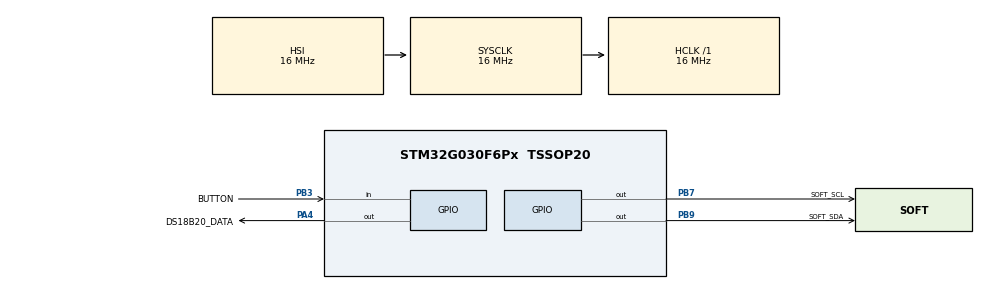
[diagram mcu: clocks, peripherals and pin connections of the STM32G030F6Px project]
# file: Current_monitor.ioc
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Mcu.Family=STM32G0
Mcu.Name=STM32G030F6Px
Mcu.Package=TSSOP20
NVIC.TIM17_IRQn=true\:0\:0\:false\:false\:true\:true\:true\:true
PA13.Mode=Serial_Wire
PA13.Signal=SYS_SWDIO
PA14-BOOT0.Mode=Serial_Wire
PA14-BOOT0.Signal=SYS_SWCLK
PA14-BOOT0__PA15.StandardMode=true
PA4.GPIO_Label=DS18B20_DATA
PA4.Signal=GPIO_Output
PB0__PB1__PB2__PA8.StandardMode=true
PB3.GPIO_Label=BUTTON
PB3.Signal=GPIO_Input
PB3__PB4__PB5__PB6.StandardMode=true
PB7.GPIO_Label=SOFT_SCL
PB7.Signal=GPIO_Output
PB7__PB8.StandardMode=true
PB9.GPIO_Label=SOFT_SDA
PB9.Signal=GPIO_Output
PC14-OSC32_IN\ (PC14)__PB9.StandardMode=true
ProjectManager.HeapSize=0x200
ProjectManager.StackSize=0x400
ProjectManager.TargetToolchain=MDK-ARM V5.27
RCC.ADCFreq_Value=16000000
RCC.AHBFreq_Value=16000000
RCC.CortexFreq_Value=16000000
RCC.EXTERNAL_CLOCK_VALUE=12288000
RCC.HCLKFreq_Value=16000000
RCC.HSE_VALUE=8000000
RCC.HSI_VALUE=16000000
RCC.LSE_VALUE=32768
RCC.SYSCLKFreq_VALUE=16000000
RCC.VCOOutputFreq_Value=128000000
TIM17.Period=50000-1
TIM17.Prescaler=32-1
VP_TIM17_VS_ClockSourceINT.Mode=Enable_Timer
board=custom

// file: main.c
/* USER CODE BEGIN Header */
/**
  ******************************************************************************
  * @file           : main.c
  * @brief          : Main program body
  ******************************************************************************
  * @attention
  *
  * Copyright (c) 2023 STMicroelectronics.
  * All rights reserved.
  *
  * This software is licensed under terms that can be found in the LICENSE file
  * in the root directory of this software component.
  * If no LICENSE file comes with this software, it is provided AS-IS.
  *
  ******************************************************************************
  */
/* USER CODE END Header */
#include "main.h"
#include "tim.h"
#include "gpio.h"

/* USER CODE BEGIN Includes */
#include "ADS1115.h"
#include "stdbool.h"
/* USER CODE END Includes */

/* USER CODE BEGIN PV */

int16_t data[4];

float out_millivolts;
float out_volts;

float Ushunt;
float current;

float battery_millivolts;
float battery_volts;

bool flag_tim = false;
uint16_t sec = 0;
uint8_t min = 0;
uint8_t hour = 0;

extern uint8_t adc_tick;

extern uint16_t DataRaw[4];

uint16_t cnt;

/* USER CODE END PV */

void SystemClock_Config(void);

/* USER CODE BEGIN 0 */

//void HAL_TIM_PeriodElapsedCallback(TIM_HandleTypeDef *htim)
//{
//	if(htim->Instance == TIM17)
//	{
//		//ADS1115_Refresh_All_Channel();
//	}
//}

/* USER CODE END 0 */

int main(void)
{

  /* MCU Configuration--------------------------------------------------------*/

  /* Reset of all peripherals, Initializes the Flash interface and the Systick. */
  HAL_Init();

  /* Configure the system clock */
  SystemClock_Config();

  /* Initialize all configured peripherals */
  MX_GPIO_Init();
  MX_TIM17_Init();
  /* USER CODE BEGIN 2 */

ADS1115_Settings_Differential_Inputs();
ADS1115_Select_channel(Differential_channel_01);

//HAL_TIM_Base_Start_IT(&htim17);

  /* USER CODE END 2 */

  /* Infinite loop */
  /* USER CODE BEGIN WHILE */
  while (1)
  {

		ADS1115_Settings_Differential_Inputs();
		ADS1115_Select_channel(Differential_channel_01);

		ADS1115_ReadRawData(data);//спочатку зчитуємо дані з каналів

		out_millivolts = ADS1115_Raw_Data_to_Volt(*data);//потім конвертуємо у вольти(мілівольти)

		out_volts = ADS1115_Get_Avarage_Volt(100);//робимо замір з вибіркою 100

		out_volts = (out_volts/1000)+0.004;//0.004-offset error//переводимо в вольти та віднімаємо значення похибки зміщення опер.підсил.
		if(out_volts < 0)out_volts*=-1;

		Ushunt = out_volts/3;//дізнаємося напругу на шунті(напруга на виході оп/Кпідсилення оп)

		current = Ushunt/0.1;//переводимо у струм  0,1-опір шунта

    /* USER CODE END WHILE */

  }
}

void SystemClock_Config(void)
{
  RCC_OscInitTypeDef RCC_OscInitStruct = {0};
  RCC_ClkInitTypeDef RCC_ClkInitStruct = {0};

  /** Configure the main internal regulator output voltage
  */
  HAL_PWREx_ControlVoltageScaling(PWR_REGULATOR_VOLTAGE_SCALE1);

  /** Initializes the RCC Oscillators according to the specified parameters
  * in the RCC_OscInitTypeDef structure.
  */
  RCC_OscInitStruct.OscillatorType = RCC_OSCILLATORTYPE_HSI;
  RCC_OscInitStruct.HSIState = RCC_HSI_ON;
  RCC_OscInitStruct.HSIDiv = RCC_HSI_DIV1;
  RCC_OscInitStruct.HSICalibrationValue = RCC_HSICALIBRATION_DEFAULT;
  RCC_OscInitStruct.PLL.PLLState = RCC_PLL_NONE;
  if (HAL_RCC_OscConfig(&RCC_OscInitStruct) != HAL_OK)
  {
    Error_Handler();
  }

  /** Initializes the CPU, AHB and APB buses clocks
  */
  RCC_ClkInitStruct.ClockType = RCC_CLOCKTYPE_HCLK|RCC_CLOCKTYPE_SYSCLK
                              |RCC_CLOCKTYPE_PCLK1;
  RCC_ClkInitStruct.SYSCLKSource = RCC_SYSCLKSOURCE_HSI;
  RCC_ClkInitStruct.AHBCLKDivider = RCC_SYSCLK_DIV1;
  RCC_ClkInitStruct.APB1CLKDivider = RCC_HCLK_DIV1;

  if (HAL_RCC_ClockConfig(&RCC_ClkInitStruct, FLASH_LATENCY_0) != HAL_OK)
  {
    Error_Handler();
  }
}

void Error_Handler(void)
{
  __disable_irq();
  while (1)
  {
  }
}
